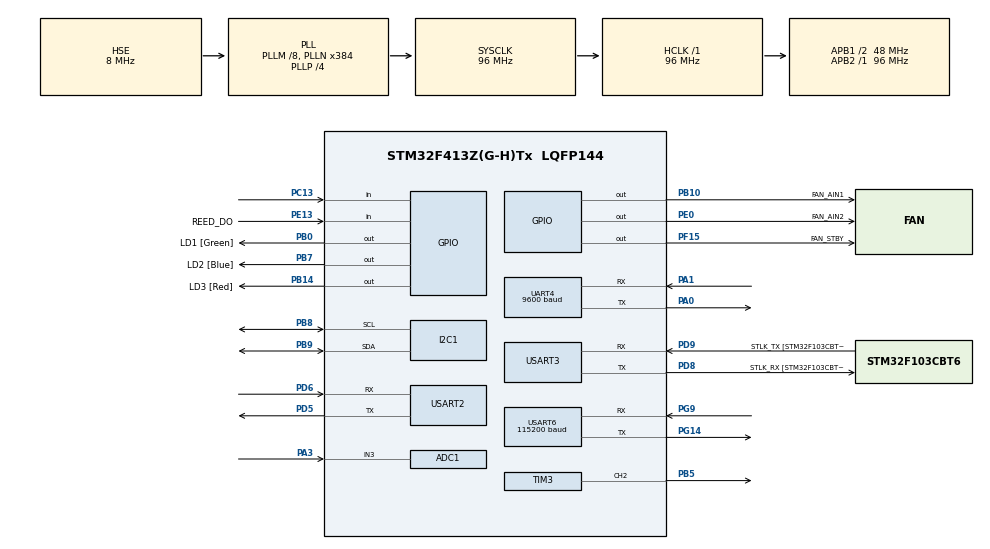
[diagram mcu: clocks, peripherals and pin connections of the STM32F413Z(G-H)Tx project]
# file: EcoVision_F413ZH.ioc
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ADC1.Channel-0\#ChannelRegularConversion=ADC_CHANNEL_3
ADC1.NbrOfConversionFlag=1
ADC1.Rank-0\#ChannelRegularConversion=1
ADC1.SamplingTime-0\#ChannelRegularConversion=ADC_SAMPLETIME_3CYCLES
ADC1.master=1
FREERTOS.Tasks01=heartbeatTask,24,256,StartHeartbeatTask,Default,NULL,Dynamic,NULL,NULL;ledTask,8,384,StartLedTask,Default,NULL,Dynamic,NULL,NULL;visionTask,16,768,StartVisionTask,Default,NULL,Dynamic,NULL,NULL
FREERTOS.configTOTAL_HEAP_SIZE=24576
Mcu.Family=STM32F4
Mcu.Name=STM32F413Z(G-H)Tx
Mcu.Package=LQFP144
NVIC.PriorityGroup=NVIC_PRIORITYGROUP_4
NVIC.TIM6_DAC_IRQn=true\:15\:0\:false\:false\:true\:false\:false\:false\:true
NVIC.TimeBase=TIM6_DAC_IRQn
NVIC.TimeBaseIP=TIM6
NVIC.UART4_IRQn=true\:6\:0\:true\:false\:true\:true\:true\:true\:false
NVIC.USART3_IRQn=true\:6\:0\:true\:false\:true\:true\:true\:true\:false
PA0.Mode=Asynchronous
PA0.Signal=UART4_TX
PA1.GPIO_PuPd=GPIO_PULLUP
PA1.Mode=Asynchronous
PA1.Signal=UART4_RX
PA13.GPIO_Label=TMS
PA13.Mode=Serial_Wire
PA13.Signal=SYS_JTMS-SWDIO
PA14.GPIO_Label=TCK
PA14.Mode=Serial_Wire
PA14.Signal=SYS_JTCK-SWCLK
PA3.Signal=ADCx_IN3
PB0.GPIO_Label=LD1 [Green]
PB0.Signal=GPIO_Output
PB10.GPIO_Label=FAN_AIN1
PB10.PinState=GPIO_PIN_RESET
PB10.Signal=GPIO_Output
PB14.GPIO_Label=LD3 [Red]
PB14.Signal=GPIO_Output
PB5.Signal=S_TIM3_CH2
PB7.GPIO_Label=LD2 [Blue]
PB7.Signal=GPIO_Output
PB8.Mode=I2C
PB8.Signal=I2C1_SCL
PB9.Mode=I2C
PB9.Signal=I2C1_SDA
PC13.GPIO_PuPd=GPIO_PULLDOWN
PC13.Signal=GPIO_Input
PD8.GPIO_Label=STLK_RX [STM32F103CBT6_PA3]
PD8.Mode=Asynchronous
PD8.Signal=USART3_TX
PD9.GPIO_Label=STLK_TX [STM32F103CBT6_PA2]
PD9.Mode=Asynchronous
PD9.Signal=USART3_RX
PE13.GPIO_Label=REED_DO
PE13.GPIO_PuPd=GPIO_PULLUP
PE13.Signal=GPIO_Input
PE0.GPIO_Label=FAN_AIN2
PE0.PinState=GPIO_PIN_RESET
PE0.Signal=GPIO_Output
PF15.GPIO_Label=FAN_STBY
PF15.PinState=GPIO_PIN_RESET
PF15.Signal=GPIO_Output
PH0\ -\ OSC_IN.GPIO_Label=MCO
PH0\ -\ OSC_IN.Mode=HSE-External-Clock-Source
PH0\ -\ OSC_IN.Signal=RCC_OSC_IN
PH1\ -\ OSC_OUT.Mode=HSE-External-Clock-Source
PH1\ -\ OSC_OUT.Signal=RCC_OSC_OUT
ProjectManager.HeapSize=0x200
ProjectManager.StackSize=0x400
ProjectManager.TargetToolchain=MDK-ARM V5
RCC.AHBCLKDivider=RCC_SYSCLK_DIV1
RCC.AHBFreq_Value=96000000
RCC.APB1CLKDivider=RCC_HCLK_DIV2
RCC.APB1Freq_Value=48000000
RCC.APB1TimFreq_Value=96000000
RCC.APB2CLKDivider=RCC_HCLK_DIV1
RCC.APB2Freq_Value=96000000
RCC.APB2TimFreq_Value=96000000
RCC.CortexFreq_Value=96000000
RCC.FLatency=FLASH_LATENCY_3
RCC.HCLKFreq_Value=96000000
RCC.HSE_VALUE=8000000
RCC.OscillatorType=RCC_OSCILLATORTYPE_HSE
RCC.PLLM=8
RCC.PLLN=384
RCC.PLLP=RCC_PLLP_DIV4
RCC.PLLQ=8
RCC.PLLSourceVirtual=RCC_PLLSOURCE_HSE
RCC.SYSCLKFreq_VALUE=96000000
RCC.SYSCLKSource=RCC_SYSCLKSOURCE_PLLCLK
RCC.VCOOutputFreq_Value=384000000
SH.ADCx_IN3.0=ADC1_IN3,IN3
SH.S_TIM3_CH2.0=TIM3_CH2,PWM Generation2 CH2
TIM3.Channel-PWM\ Generation2\ CH2=TIM_CHANNEL_2
TIM3.Period=4799
TIM3.Prescaler=0
TIM3.Pulse-PWM\ Generation2\ CH2=0
UART4.BaudRate=9600
UART4.VirtualMode=Asynchronous
USART3.VirtualMode=VM_ASYNC
VP_FREERTOS_VS_CMSIS_V2.Mode=CMSIS_V2
VP_SYS_VS_tim6.Mode=TIM6
board=custom
PD5.Mode=Asynchronous
PD5.Signal=USART2_TX
PD6.Mode=Asynchronous
PD6.Signal=USART2_RX
NVIC.USART2_IRQn=true\:6\:0\:true\:false\:true\:true\:true\:true\:false
# Environment task is implemented in App/Src/app_environment.c; 2048-byte stack, Low priority.
# PC5 is ADC1 channel15. Sampling config is owned by app_environment.c.
PG9.Mode=Asynchronous
PG9.Signal=USART6_RX
PG14.Mode=Asynchronous
PG14.Signal=USART6_TX
USART6.VirtualMode=VM_ASYNC
USART6.BaudRate=115200
NVIC.USART6_IRQn=true\:6\:0\:true\:false\:true\:true\:true\:true\:false
Dma.Request0=USART2_RX
Dma.Request1=USART6_RX
Dma.USART2_RX.0.Instance=DMA1_Stream5
Dma.USART2_RX.0.Direction=DMA_PERIPH_TO_MEMORY
Dma.USART2_RX.0.PeriphInc=DMA_PINC_DISABLE
Dma.USART2_RX.0.MemInc=DMA_MINC_ENABLE
Dma.USART2_RX.0.PeriphDataAlignment=DMA_PDATAALIGN_BYTE
Dma.USART2_RX.0.MemDataAlignment=DMA_MDATAALIGN_BYTE
Dma.USART2_RX.0.Mode=DMA_CIRCULAR
Dma.USART2_RX.0.Priority=DMA_PRIORITY_HIGH
Dma.USART2_RX.0.FIFOMode=DMA_FIFOMODE_DISABLE
NVIC.DMA1_Stream5_IRQn=true\:6\:0\:true\:false\:true\:true\:true\:false
Dma.USART6_RX.1.Instance=DMA2_Stream1
Dma.USART6_RX.1.Direction=DMA_PERIPH_TO_MEMORY
Dma.USART6_RX.1.PeriphInc=DMA_PINC_DISABLE
Dma.USART6_RX.1.MemInc=DMA_MINC_ENABLE
Dma.USART6_RX.1.PeriphDataAlignment=DMA_PDATAALIGN_BYTE
Dma.USART6_RX.1.MemDataAlignment=DMA_MDATAALIGN_BYTE
Dma.USART6_RX.1.Mode=DMA_CIRCULAR
Dma.USART6_RX.1.Priority=DMA_PRIORITY_HIGH
Dma.USART6_RX.1.FIFOMode=DMA_FIFOMODE_DISABLE
NVIC.DMA2_Stream1_IRQn=true\:6\:0\:true\:false\:true\:true\:true\:false

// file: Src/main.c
/* USER CODE BEGIN Header */
/**
  ******************************************************************************
  * @file           : main.c
  * @brief          : Main program body
  ******************************************************************************
  * @attention
  *
  * Copyright (c) 2026 STMicroelectronics.
  * All rights reserved.
  *
  * This software is licensed under terms that can be found in the LICENSE file
  * in the root directory of this software component.
  * If no LICENSE file comes with this software, it is provided AS-IS.
  *
  ******************************************************************************
  */
/* USER CODE END Header */
#include "main.h"
#include "app_ac_demo.h"
#include "cmsis_os.h"

/* USER CODE BEGIN Includes */
#include "app_led.h"
#include "app_fan.h"
#include "app_vision.h"
#include "app_log.h"
#include "app_environment.h"
#include "app_reed.h"
#include "app_net.h"
#include "app_alert.h"
#include "app_tts.h"
/* USER CODE END Includes */

ADC_HandleTypeDef hadc1;

I2C_HandleTypeDef hi2c1;

TIM_HandleTypeDef htim3;

UART_HandleTypeDef huart6;
UART_HandleTypeDef huart2;
UART_HandleTypeDef huart4;
UART_HandleTypeDef huart3;

/* Definitions for heartbeatTask (low housekeeping: LD2 blink + reed switch) */
osThreadId_t heartbeatTaskHandle;
const osThreadAttr_t heartbeatTask_attributes = {
  .name = "heartbeatTask",
  .stack_size = 256 * 4,
  .priority = (osPriority_t) osPriorityLow1,
};
/* Definitions for ledTask (highest: B1 safety, IR remote, fan/LED/AC actuator loop) */
osThreadId_t ledTaskHandle;
const osThreadAttr_t ledTask_attributes = {
  .name = "ledTask",
  .stack_size = 512 * 4,
  .priority = (osPriority_t) osPriorityAboveNormal,
};
/* Definitions for environmentTask (above network so 1 Hz SGP30/I2C1 never starves) */
osThreadId_t environmentTaskHandle;
const osThreadAttr_t environmentTask_attributes={
 .name="environmentTask", .stack_size=2048, .priority=osPriorityBelowNormal
};
/* Definitions for visionTask (K230 UART2 DMA parsing + ST7735 LCD refresh) */
osThreadId_t visionTaskHandle;
const osThreadAttr_t visionTask_attributes = {
  .name="visionTask", .stack_size=3072, .priority=osPriorityNormal
};
/* USER CODE BEGIN PV */
static const uint8_t boot_message[] =
    "EcoVision F413ZH local-auto-20261122.4, interface baseline 1.0.0\r\n"
    "FreeRTOS heartbeat running; HAL TIM6 tick OK\r\n";
/* USER CODE END PV */

void SystemClock_Config(void);
static void MX_GPIO_Init(void);
static void MX_ADC1_Init(void);
static void MX_I2C1_Init(void);
static void MX_USART6_UART_Init(void);
static void MX_USART2_UART_Init(void);
static void MX_USART3_UART_Init(void);
void StartVisionTask(void *argument);
static void MX_UART4_Init(void);
static void MX_TIM3_Init(void);
void StartHeartbeatTask(void *argument);
void StartLedTask(void *argument);

int main(void)
{

  /* MCU Configuration--------------------------------------------------------*/

  /* Reset of all peripherals, Initializes the Flash interface and the Systick. */
  HAL_Init();

  /* Configure the system clock */
  SystemClock_Config();

  /* Initialize all configured peripherals */
  MX_GPIO_Init();
  MX_ADC1_Init();
  MX_I2C1_Init();
  MX_USART3_UART_Init();
  MX_USART2_UART_Init();
  MX_USART6_UART_Init();
  MX_UART4_Init();
  MX_TIM3_Init();
  /* USER CODE BEGIN 2 */
  if (!AppFan_Init(&htim3))
  {
    Error_Handler();
  }

  AppAcDemo_Init(); /* Safely probe the optional IR module after fan standby is initialized. */

  /* USER CODE END 2 */

  /* Init scheduler */
  osKernelInitialize();

  /* USER CODE BEGIN RTOS_MUTEX */
  AppLog_Init();
  AppAlert_Init();
  AppTts_Init((AppAlert_Take() & ALERT_SYSTEM) != 0U);
  /* add mutexes, ... */
  /* USER CODE END RTOS_MUTEX */

  /* Create the thread(s) */
  /* creation of heartbeatTask */
  heartbeatTaskHandle = osThreadNew(StartHeartbeatTask, NULL, &heartbeatTask_attributes);

  /* creation of ledTask */
  ledTaskHandle = osThreadNew(StartLedTask, NULL, &ledTask_attributes);

  /* USER CODE BEGIN RTOS_THREADS */
  const osThreadAttr_t network_attr={.name="networkTask",.stack_size=4096,.priority=osPriorityLow};
  if(osThreadNew(AppNet_Run,NULL,&network_attr)==NULL)Error_Handler();
  environmentTaskHandle=osThreadNew(AppEnvironment_Run,NULL,&environmentTask_attributes);
  if(environmentTaskHandle==NULL) Error_Handler();
  visionTaskHandle = osThreadNew(StartVisionTask, NULL, &visionTask_attributes);
  if (visionTaskHandle == NULL) Error_Handler();
  if (heartbeatTaskHandle == NULL)
  {
    Error_Handler();
  }
  if (ledTaskHandle == NULL)
  {
    static const uint8_t message[] = "[LED] task allocation failed\r\n";
    (void)HAL_UART_Transmit(&huart3, message, sizeof message - 1U, 25U);
  }
  /* USER CODE END RTOS_THREADS */

  /* Start scheduler */
  osKernelStart();

  /* We should never get here as control is now taken by the scheduler */

  /* Infinite loop */
  while (1)
  {

    /* USER CODE BEGIN 3 */
    /* Reached only if the scheduler failed to start. */
    Error_Handler();
  }
  /* USER CODE END 3 */
}

void SystemClock_Config(void)
{
  RCC_OscInitTypeDef RCC_OscInitStruct = {0};
  RCC_ClkInitTypeDef RCC_ClkInitStruct = {0};

  /** Configure the main internal regulator output voltage
  */
  __HAL_RCC_PWR_CLK_ENABLE();
  __HAL_PWR_VOLTAGESCALING_CONFIG(PWR_REGULATOR_VOLTAGE_SCALE1);

  /** Initializes the RCC Oscillators according to the specified parameters
  * in the RCC_OscInitTypeDef structure.
  */
  RCC_OscInitStruct.OscillatorType = RCC_OSCILLATORTYPE_HSE;
  RCC_OscInitStruct.HSEState = RCC_HSE_BYPASS;
  RCC_OscInitStruct.PLL.PLLState = RCC_PLL_ON;
  RCC_OscInitStruct.PLL.PLLSource = RCC_PLLSOURCE_HSE;
  RCC_OscInitStruct.PLL.PLLM = 8;
  RCC_OscInitStruct.PLL.PLLN = 384;
  RCC_OscInitStruct.PLL.PLLP = RCC_PLLP_DIV4;
  RCC_OscInitStruct.PLL.PLLQ = 8;
  RCC_OscInitStruct.PLL.PLLR = 2;
  if (HAL_RCC_OscConfig(&RCC_OscInitStruct) != HAL_OK)
  {
    Error_Handler();
  }

  /** Initializes the CPU, AHB and APB buses clocks
  */
  RCC_ClkInitStruct.ClockType = RCC_CLOCKTYPE_HCLK|RCC_CLOCKTYPE_SYSCLK
                              |RCC_CLOCKTYPE_PCLK1|RCC_CLOCKTYPE_PCLK2;
  RCC_ClkInitStruct.SYSCLKSource = RCC_SYSCLKSOURCE_PLLCLK;
  RCC_ClkInitStruct.AHBCLKDivider = RCC_SYSCLK_DIV1;
  RCC_ClkInitStruct.APB1CLKDivider = RCC_HCLK_DIV2;
  RCC_ClkInitStruct.APB2CLKDivider = RCC_HCLK_DIV1;

  if (HAL_RCC_ClockConfig(&RCC_ClkInitStruct, FLASH_LATENCY_3) != HAL_OK)
  {
    Error_Handler();
  }
}

static void MX_ADC1_Init(void)
{

  ADC_ChannelConfTypeDef sConfig = {0};

  /** Configure the global features of the ADC (Clock, Resolution, Data Alignment and number of conversion)
  */
  hadc1.Instance = ADC1;
  hadc1.Init.ClockPrescaler = ADC_CLOCK_SYNC_PCLK_DIV4;
  hadc1.Init.Resolution = ADC_RESOLUTION_12B;
  hadc1.Init.ScanConvMode = DISABLE;
  hadc1.Init.ContinuousConvMode = DISABLE;
  hadc1.Init.DiscontinuousConvMode = DISABLE;
  hadc1.Init.ExternalTrigConvEdge = ADC_EXTERNALTRIGCONVEDGE_NONE;
  hadc1.Init.ExternalTrigConv = ADC_SOFTWARE_START;
  hadc1.Init.DataAlign = ADC_DATAALIGN_RIGHT;
  hadc1.Init.NbrOfConversion = 1;
  hadc1.Init.DMAContinuousRequests = DISABLE;
  hadc1.Init.EOCSelection = ADC_EOC_SINGLE_CONV;
  if (HAL_ADC_Init(&hadc1) != HAL_OK)
  {
    Error_Handler();
  }

  /** Configure for the selected ADC regular channel its corresponding rank in the sequencer and its sample time.
  */
  sConfig.Channel = ADC_CHANNEL_3;
  sConfig.Rank = 1;
  sConfig.SamplingTime = ADC_SAMPLETIME_3CYCLES;
  if (HAL_ADC_ConfigChannel(&hadc1, &sConfig) != HAL_OK)
  {
    Error_Handler();
  }

}

static void MX_I2C1_Init(void)
{

  hi2c1.Instance = I2C1;
  hi2c1.Init.ClockSpeed = 100000;
  hi2c1.Init.DutyCycle = I2C_DUTYCYCLE_2;
  hi2c1.Init.OwnAddress1 = 0;
  hi2c1.Init.AddressingMode = I2C_ADDRESSINGMODE_7BIT;
  hi2c1.Init.DualAddressMode = I2C_DUALADDRESS_DISABLE;
  hi2c1.Init.OwnAddress2 = 0;
  hi2c1.Init.GeneralCallMode = I2C_GENERALCALL_DISABLE;
  hi2c1.Init.NoStretchMode = I2C_NOSTRETCH_DISABLE;
  if (HAL_I2C_Init(&hi2c1) != HAL_OK)
  {
    Error_Handler();
  }

}

static void MX_TIM3_Init(void)
{

  TIM_MasterConfigTypeDef sMasterConfig = {0};
  TIM_OC_InitTypeDef sConfigOC = {0};

  htim3.Instance = TIM3;
  htim3.Init.Prescaler = 0;
  htim3.Init.CounterMode = TIM_COUNTERMODE_UP;
  htim3.Init.Period = 4799;
  htim3.Init.ClockDivision = TIM_CLOCKDIVISION_DIV1;
  htim3.Init.AutoReloadPreload = TIM_AUTORELOAD_PRELOAD_DISABLE;
  if (HAL_TIM_PWM_Init(&htim3) != HAL_OK)
  {
    Error_Handler();
  }
  sMasterConfig.MasterOutputTrigger = TIM_TRGO_RESET;
  sMasterConfig.MasterSlaveMode = TIM_MASTERSLAVEMODE_DISABLE;
  if (HAL_TIMEx_MasterConfigSynchronization(&htim3, &sMasterConfig) != HAL_OK)
  {
    Error_Handler();
  }
  sConfigOC.OCMode = TIM_OCMODE_PWM1;
  sConfigOC.Pulse = 0;
  sConfigOC.OCPolarity = TIM_OCPOLARITY_HIGH;
  sConfigOC.OCFastMode = TIM_OCFAST_DISABLE;
  if (HAL_TIM_PWM_ConfigChannel(&htim3, &sConfigOC, TIM_CHANNEL_2) != HAL_OK)
  {
    Error_Handler();
  }
  HAL_TIM_MspPostInit(&htim3);

}

static void MX_UART4_Init(void)
{

  huart4.Instance = UART4;
  huart4.Init.BaudRate = 9600;
  huart4.Init.WordLength = UART_WORDLENGTH_8B;
  huart4.Init.StopBits = UART_STOPBITS_1;
  huart4.Init.Parity = UART_PARITY_NONE;
  huart4.Init.Mode = UART_MODE_TX_RX;
  huart4.Init.HwFlowCtl = UART_HWCONTROL_NONE;
  huart4.Init.OverSampling = UART_OVERSAMPLING_16;
  if (HAL_UART_Init(&huart4) != HAL_OK)
  {
    Error_Handler();
  }

}

static void MX_USART6_UART_Init(void) {
  huart6.Instance=USART6;huart6.Init.BaudRate=115200;
  huart6.Init.WordLength=UART_WORDLENGTH_8B;huart6.Init.StopBits=UART_STOPBITS_1;
  huart6.Init.Parity=UART_PARITY_NONE;huart6.Init.Mode=UART_MODE_TX_RX;
  huart6.Init.HwFlowCtl=UART_HWCONTROL_NONE;huart6.Init.OverSampling=UART_OVERSAMPLING_16;
  if(HAL_UART_Init(&huart6)!=HAL_OK)Error_Handler();
}
static void MX_USART2_UART_Init(void)
{
  huart2.Instance=USART2;
  huart2.Init.BaudRate=115200;
  huart2.Init.WordLength=UART_WORDLENGTH_8B;
  huart2.Init.StopBits=UART_STOPBITS_1;
  huart2.Init.Parity=UART_PARITY_NONE;
  huart2.Init.Mode=UART_MODE_TX_RX;
  huart2.Init.HwFlowCtl=UART_HWCONTROL_NONE;
  huart2.Init.OverSampling=UART_OVERSAMPLING_16;
  if(HAL_UART_Init(&huart2)!=HAL_OK) Error_Handler();
}
void StartVisionTask(void *argument)
{
  (void)argument;
  AppVision_Run(&huart2);
}

static void MX_USART3_UART_Init(void)
{

  huart3.Instance = USART3;
  huart3.Init.BaudRate = 115200;
  huart3.Init.WordLength = UART_WORDLENGTH_8B;
  huart3.Init.StopBits = UART_STOPBITS_1;
  huart3.Init.Parity = UART_PARITY_NONE;
  huart3.Init.Mode = UART_MODE_TX_RX;
  huart3.Init.HwFlowCtl = UART_HWCONTROL_NONE;
  huart3.Init.OverSampling = UART_OVERSAMPLING_16;
  if (HAL_UART_Init(&huart3) != HAL_OK)
  {
    Error_Handler();
  }

}

static void MX_GPIO_Init(void)
{
  GPIO_InitTypeDef GPIO_InitStruct = {0};

  /* GPIO Ports Clock Enable */
  __HAL_RCC_GPIOC_CLK_ENABLE();
  __HAL_RCC_GPIOH_CLK_ENABLE();
  __HAL_RCC_GPIOA_CLK_ENABLE();
  __HAL_RCC_GPIOB_CLK_ENABLE();
  __HAL_RCC_GPIOF_CLK_ENABLE();
  __HAL_RCC_GPIOD_CLK_ENABLE();
  __HAL_RCC_GPIOE_CLK_ENABLE();

  /*Configure GPIO pin Output Level */
  HAL_GPIO_WritePin(GPIOB, LD1_Pin|FAN_AIN1_Pin|LD3_Pin|LD2_Pin, GPIO_PIN_RESET);

  /*Configure GPIO pin Output Level */
  HAL_GPIO_WritePin(FAN_STBY_GPIO_Port, FAN_STBY_Pin, GPIO_PIN_RESET);

  /*Configure GPIO pin Output Level */
  HAL_GPIO_WritePin(FAN_AIN2_GPIO_Port, FAN_AIN2_Pin, GPIO_PIN_RESET);

  /*Configure GPIO pin : PC13 */
  GPIO_InitStruct.Pin = GPIO_PIN_13;
  GPIO_InitStruct.Mode = GPIO_MODE_INPUT;
  /* MB1137 B1 connects to VDD; its 220k external pulldown is too weak
   * against an internal pull-up. Match ST's BSP polling-mode pulldown. */
  GPIO_InitStruct.Pull = GPIO_PULLDOWN;
  HAL_GPIO_Init(GPIOC, &GPIO_InitStruct);

  /*Configure GPIO pins : LD1_Pin FAN_AIN1_Pin LD3_Pin LD2_Pin */
  GPIO_InitStruct.Pin = LD1_Pin|FAN_AIN1_Pin|LD3_Pin|LD2_Pin;
  GPIO_InitStruct.Mode = GPIO_MODE_OUTPUT_PP;
  GPIO_InitStruct.Pull = GPIO_NOPULL;
  GPIO_InitStruct.Speed = GPIO_SPEED_FREQ_LOW;
  HAL_GPIO_Init(GPIOB, &GPIO_InitStruct);

  /*Configure GPIO pin : FAN_STBY_Pin */
  GPIO_InitStruct.Pin = FAN_STBY_Pin;
  GPIO_InitStruct.Mode = GPIO_MODE_OUTPUT_PP;
  GPIO_InitStruct.Pull = GPIO_NOPULL;
  GPIO_InitStruct.Speed = GPIO_SPEED_FREQ_LOW;
  HAL_GPIO_Init(FAN_STBY_GPIO_Port, &GPIO_InitStruct);

  /*Configure GPIO pin : FAN_AIN2_Pin */
  GPIO_InitStruct.Pin = FAN_AIN2_Pin;
  GPIO_InitStruct.Mode = GPIO_MODE_OUTPUT_PP;
  GPIO_InitStruct.Pull = GPIO_NOPULL;
  GPIO_InitStruct.Speed = GPIO_SPEED_FREQ_LOW;
  HAL_GPIO_Init(FAN_AIN2_GPIO_Port, &GPIO_InitStruct);

  /* USER CODE BEGIN MX_GPIO_Init_2 */
  /* Matches PE13 GPIO_Input / pull-up in the saved .ioc. */
  GPIO_InitStruct.Pin = GPIO_PIN_13;
  GPIO_InitStruct.Mode = GPIO_MODE_INPUT;
  GPIO_InitStruct.Pull = GPIO_PULLUP;
  HAL_GPIO_Init(GPIOE, &GPIO_InitStruct);
  /* USER CODE END MX_GPIO_Init_2 */
}

void StartHeartbeatTask(void *argument)
{
  /* USER CODE BEGIN 5 */
  (void)argument;
  const uint32_t half_period_ticks = osKernelGetTickFreq() / 2U;
  const uint32_t start_ms = HAL_GetTick();

  if (osDelay(half_period_ticks) != osOK)
  {
    Error_Handler();
  }

  /* With the scheduler running, verify the independent HAL millisecond tick. */
  const uint32_t elapsed_ms = HAL_GetTick() - start_ms;
  if (elapsed_ms < 450U || elapsed_ms > 550U)
  {
    Error_Handler();
  }

  (void)HAL_UART_Transmit(&huart3, boot_message, sizeof boot_message - 1U, 25U);
  const uint32_t watchdog_arm_at = HAL_GetTick() + 1500U;
  bool watchdog_armed = false;
  uint32_t heartbeat_at = HAL_GetTick();
  for (;;)
  {
    AppReed_Poll();
    if (!watchdog_armed && (int32_t)(HAL_GetTick() - watchdog_arm_at) >= 0)
    {
      AppHealth_Start();
      watchdog_armed = true;
      AppLog_Printf("[HEALTH] IWDG 16s hardware watchdog armed (5 tasks monitored)\r\n");
    }
    if ((uint32_t)(HAL_GetTick() - heartbeat_at) >= 500U)
    {
      heartbeat_at = HAL_GetTick();
      HAL_GPIO_TogglePin(LD2_GPIO_Port, LD2_Pin);
      if (watchdog_armed) AppHealth_Poll();
    }
    osDelay((osKernelGetTickFreq() + 99U) / 100U);
  }
  /* USER CODE END 5 */
}

void StartLedTask(void *argument)
{
  /* USER CODE BEGIN StartLedTask */
  (void)argument;
  AppLed_Run(&huart3);
  /* A failed LED setup returns here. End only this task so the network and sensor tasks can keep running. */
  osThreadExit();
  /* USER CODE END StartLedTask */
}

void HAL_TIM_PeriodElapsedCallback(TIM_HandleTypeDef *htim)
{
  if (htim->Instance == TIM6)
  {
    HAL_IncTick();
  }
}

void Error_Handler(void)
{
  __disable_irq();
  while (1)
  {
  }
}
